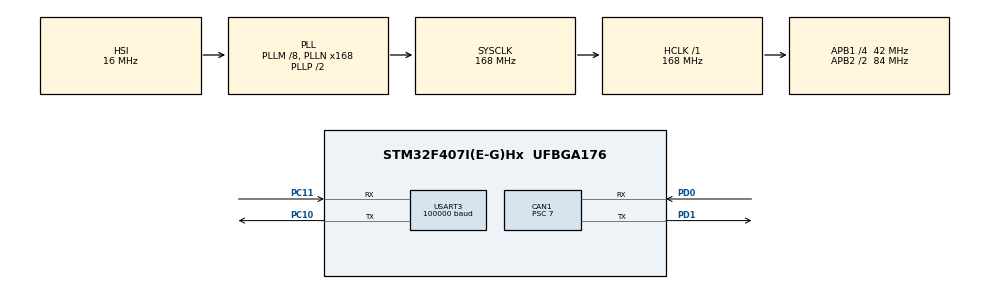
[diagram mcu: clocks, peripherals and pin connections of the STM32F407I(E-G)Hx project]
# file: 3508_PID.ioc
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CAN1.BS1=CAN_BS1_3TQ
CAN1.BS2=CAN_BS2_2TQ
CAN1.CalculateBaudRate=999999
CAN1.CalculateTimeBit=1000
CAN1.CalculateTimeQuantum=166.66666666666669
CAN1.NART=ENABLE
CAN1.Prescaler=7
Dma.Request0=USART3_RX
Dma.USART3_RX.0.Direction=DMA_PERIPH_TO_MEMORY
Dma.USART3_RX.0.FIFOMode=DMA_FIFOMODE_DISABLE
Dma.USART3_RX.0.Instance=DMA1_Stream1
Dma.USART3_RX.0.MemDataAlignment=DMA_MDATAALIGN_BYTE
Dma.USART3_RX.0.MemInc=DMA_MINC_ENABLE
Dma.USART3_RX.0.Mode=DMA_NORMAL
Dma.USART3_RX.0.PeriphDataAlignment=DMA_PDATAALIGN_BYTE
Dma.USART3_RX.0.PeriphInc=DMA_PINC_DISABLE
Dma.USART3_RX.0.Priority=DMA_PRIORITY_VERY_HIGH
Mcu.Family=STM32F4
Mcu.Name=STM32F407I(E-G)Hx
Mcu.Package=UFBGA176
NVIC.CAN1_RX0_IRQn=true\:5\:0\:true\:false\:true\:true\:true\:true
NVIC.DMA1_Stream1_IRQn=true\:0\:0\:false\:false\:true\:false\:true\:true
NVIC.PriorityGroup=NVIC_PRIORITYGROUP_4
NVIC.USART3_IRQn=true\:0\:0\:false\:false\:true\:true\:true\:true
PA13.Mode=Serial_Wire
PA13.Signal=SYS_JTMS-SWDIO
PA14.Mode=Serial_Wire
PA14.Signal=SYS_JTCK-SWCLK
PC10.Mode=Asynchronous
PC10.Signal=USART3_TX
PC11.Mode=Asynchronous
PC11.Signal=USART3_RX
PD0.Mode=CAN_Activate
PD0.Signal=CAN1_RX
PD1.Mode=CAN_Activate
PD1.Signal=CAN1_TX
ProjectManager.HeapSize=0x200
ProjectManager.StackSize=0x400
ProjectManager.TargetToolchain=CMake
RCC.48MHZClocksFreq_Value=84000000
RCC.AHBFreq_Value=168000000
RCC.APB1CLKDivider=RCC_HCLK_DIV4
RCC.APB1Freq_Value=42000000
RCC.APB1TimFreq_Value=84000000
RCC.APB2CLKDivider=RCC_HCLK_DIV2
RCC.APB2Freq_Value=84000000
RCC.APB2TimFreq_Value=168000000
RCC.CortexFreq_Value=168000000
RCC.HCLKFreq_Value=168000000
RCC.HSE_VALUE=25000000
RCC.HSI_VALUE=16000000
RCC.LSE_VALUE=32768
RCC.PLLM=8
RCC.PLLN=168
RCC.SYSCLKFreq_VALUE=168000000
RCC.SYSCLKSource=RCC_SYSCLKSOURCE_PLLCLK
RCC.VCOOutputFreq_Value=336000000
USART3.BaudRate=100000
USART3.Parity=PARITY_EVEN
USART3.VirtualMode=VM_ASYNC
USART3.WordLength=WORDLENGTH_9B
VP_TIM6_VS_ClockSourceINT.Mode=Enable_Timer
board=custom

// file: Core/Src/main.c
/* USER CODE BEGIN Header */
/**
  ******************************************************************************
  * @file           : main.c
  * @brief          : Main program body
  ******************************************************************************
  * @attention
  *
  * Copyright (c) 2026 STMicroelectronics.
  * All rights reserved.
  *
  * This software is licensed under terms that can be found in the LICENSE file
  * in the root directory of this software component.
  * If no LICENSE file comes with this software, it is provided AS-IS.
  *
  ******************************************************************************
  */
/* USER CODE END Header */
#include "main.h"
#include "can.h"
#include "dma.h"
#include "tim.h"
#include "usart.h"
#include "gpio.h"

/* USER CODE BEGIN Includes */
#include "chassis_kinematics.h"
#include <math.h>    /* sqrtf — 底盘级反向制动中计算速度矢量模 */
/* USER CODE END Includes */

/* USER CODE BEGIN PD */
/* 控制任务调度周期（ms） */
#define CONTROL_PERIOD_MS 10U

/*
 * 制动硬停阶段时长（控制任务迭代次数），宏定义见 debug.h。
 *
 * 时间换算：CONTROL_PERIOD_MS=10ms → BRAKE_HS_COUNT=300ms/10ms=30 次迭代。
 * 修改时长只需改 debug.h 中的 BRAKE_HS_COUNT，例如：
 *   150ms → 150/10 = 15    500ms → 500/10 = 50
 *
 * 每电机独立状态见下方 static 变量。
 */

/* USER CODE END PD */

/* USER CODE BEGIN PV */

/** @brief 进入制动区时的 debug_control_task_count 快照（底盘级，非逐电机）。
 *   用于反向制动阶段的计时：当前控制迭代次数与入口计数之差
 *   小于动态制动次数时，施加底盘级反向制动。 */
static uint32_t brake_entry_tick = 0U;

/** @brief 上一轮迭代是否处于制动区（底盘级，边沿检测用）。
 *   用于在进入制动区的上升沿记录制动起始时刻。 */
static uint8_t  brake_in_zone = 0U;

/** @brief 进入制动区时的底盘实际平移速度大小（m/s）。
 *   在制动上升沿由前向运动学反算，用于计算与速度成正比的制动时长。 */
static float    brake_entry_speed_ms = 0.0f;

/* USER CODE END PV */

void SystemClock_Config(void);
/* USER CODE BEGIN PFP */
static void CAN_Filter_Init(void);

/* USER CODE END PFP */

int main(void)
{

  /* MCU Configuration--------------------------------------------------------*/

  /* Reset of all peripherals, Initializes the Flash interface and the Systick. */
  HAL_Init();

  /* Configure the system clock */
  SystemClock_Config();

  /* Initialize all configured peripherals */
  MX_GPIO_Init();
  MX_DMA_Init();
  MX_CAN1_Init();
  MX_TIM6_Init();
  MX_USART3_UART_Init();
  /* USER CODE BEGIN 2 */
  DR16_Init();
  CAN_Filter_Init();

  if (HAL_CAN_Start(&hcan1) != HAL_OK)
  {
    Error_Handler();
  }

  if (HAL_CAN_ActivateNotification(&hcan1, CAN_IT_RX_FIFO0_MSG_PENDING) != HAL_OK)
  {
    Error_Handler();
  }

  Control_Init();

  /* USER CODE END 2 */

  /* Infinite loop */
  /* USER CODE BEGIN WHILE */
  uint32_t last_control_tick = HAL_GetTick();
  while (1)
  {
    /* USER CODE END WHILE */

    /* USER CODE BEGIN 3 */
    debug_main_loop_count++;

    /* 转圈触发：Ozone 设 debug_run_turns 非零→所有在线电机执行一次→自动清零。
     * Debug_QuickRunTurns 内部已按电机逐台检查 feedback_valid，无需外层检查。 */
    if (debug_run_turns != 0.0f)
    {
      float turns = debug_run_turns;
      debug_run_turns = 0.0f;
      Debug_QuickRunTurns(turns);
    }

    /* ====== 快捷调试模式调度 ====== */
    if (debug_quick_mode == DEBUG_QUICK_MODE_REMOTE)
    {
      /* ====== 遥控器模式（全向轮 X 型底盘运动学解算） ======
       *
       * 摇杆映射：
       *   左摇杆 ch2（左右）→ X 平移    右摇杆 ch0（左右）→ 旋转
       *   左摇杆 ch3（上下）→ Y 平移    右摇杆 ch1（上下）→ 预留
       *
       * 信号丢失保护：
       *   DR16_Init() 已将 RC_CtrlData 初始化为中位值（各通道=1024），
       *   因此上电后、未收到第一帧时，摇杆读数为中位 → 车速为零。
       *   同时检查 last_frame_tick：若从未收到帧或超时未更新 → 强制归零。
       *   超时阈值 debug_dr16_signal_timeout_ms（默认 500 ms）。 */
      {
        uint32_t now_tick = HAL_GetTick();
        uint8_t  signal_lost = 0U;
        uint8_t  i;

        /* 信号丢失判断：从未收到帧，或距最后一帧超过超时阈值 */
        if (debug_dr16_last_frame_tick == 0U ||
            (now_tick - debug_dr16_last_frame_tick) > debug_dr16_signal_timeout_ms)
        {
          signal_lost = 1U;
        }

        if (signal_lost)
        {
          /* 遥控器信号丢失 → 所有电机目标转速归零，确保安全 */
          for (i = 0; i < MOTOR_COUNT; i++)
          {
            MotorControl_SetControlMode(i, MOTOR_CONTROL_MODE_SPEED);
            MotorControl_SetTargetSpeed(i, 0.0f);
          }
        }
        else
        {
          float chassis_vx, chassis_vy, chassis_omega;
          float motor_speeds[4];

          /* 步骤 1：遥控器通道 → 底盘目标运动（m/s 和 rad/s）。
           * RemoteToChassis() 仅做纯摇杆→速度映射（含死区），不做硬件补偿。 */
          ChassisKinematics_RemoteToChassis(
              RC_CtrlData.rc.ch0, RC_CtrlData.rc.ch1,
              RC_CtrlData.rc.ch2, RC_CtrlData.rc.ch3,
              &chassis_vx, &chassis_vy, &chassis_omega);

          /* 步骤 2：硬件补偿（仅作用于遥控器解算出的速度矢量，制动等其他路径不受影响）。
           *
           * 补偿分两项，按先后顺序执行：
           *   2a. 速度矢量偏向角修正 — 将 (vx, vy) 旋转 debug_kinematics_bias_angle_deg 度。
           *       用于矫正因轮系安装不对称导致的方向偏移（如推正前车往左前偏）。
           *       正值=CCW 旋转，负值=CW 旋转，设 0 禁用。
           *   2b. CCW 偏航修正 — 根据平移速度大小，叠加与平移成正比的旋转角速度。
           *       用于矫正因机械不对称（四电机出力不均、重心偏移）导致的直行偏航。
           *       omega += gain × sqrt(vx² + vy²)，正值=CCW，设 0 禁用。
           *
           *       对角死区：当速度矢量方向接近纯对角线方向（45°、135°、225°、315°），
           *       即与一三象限或二四象限角平分线的夹角 < debug_kinematics_ccw_dead_angle_deg
           *       （默认 15°）时，跳过 CCW 修正，避免对角线推杆时过旋转。
           *
           * 两项补偿独立可调，Ozone 中修改后立即生效。 */
          if (debug_kinematics_bias_angle_deg != 0.0f)
          {
            float bias_rad = debug_kinematics_bias_angle_deg * (3.14159265f / 180.0f);
            float cos_b = cosf(bias_rad);
            float sin_b = sinf(bias_rad);
            float vx_rot = chassis_vx * cos_b - chassis_vy * sin_b;
            float vy_rot = chassis_vx * sin_b + chassis_vy * cos_b;
            chassis_vx = vx_rot;
            chassis_vy = vy_rot;
          }

          if (debug_kinematics_ccw_correction_gain != 0.0f)
          {
            float speed_mag = sqrtf(chassis_vx * chassis_vx + chassis_vy * chassis_vy);
            uint8_t apply_ccw = 1U;

            /* 对角死区：速度矢量接近 45° 对角线方向时跳过 CCW 修正 */
            if (debug_kinematics_ccw_dead_angle_deg > 0.0f && speed_mag > 0.005f)
            {
              float angle = atan2f(chassis_vy, chassis_vx);
              if (angle < 0.0f) angle += 2.0f * 3.14159265f;
              /* 将所有方向映射到 [0, π/2)，对角线位于 π/4 (45°) */
              float mod = angle;
              while (mod >= 3.14159265f / 2.0f) mod -= 3.14159265f / 2.0f;
              float dist = (mod > 3.14159265f / 4.0f)
                  ? (mod - 3.14159265f / 4.0f)
                  : (3.14159265f / 4.0f - mod);
              if (dist < debug_kinematics_ccw_dead_angle_deg * (3.14159265f / 180.0f))
              {
                apply_ccw = 0U;
              }
            }

            if (apply_ccw)
            {
              chassis_omega += debug_kinematics_ccw_correction_gain * speed_mag;
            }
          }

          /* 步骤 3：底盘目标运动（已补偿）→ 4 电机目标转速（rad/s，电机轴侧） */
          ChassisKinematics_ChassisToMotors(
              chassis_vx, chassis_vy, chassis_omega, motor_speeds);

          /* 步骤 4：写入各电机目标，同步 debug_set_speed 供 Ozone 观察。
           *
           * 制动策略（底盘级两段式，无位置环）：
           *   摇杆中位 → 所有电机解算转速低于 debug_brake_threshold_rad_s → 进入制动区。
           *
           *   段 0 — 底盘级反向制动（动态时长，与入口速度成正比）：
           *          上升沿：前向运动学反算底盘实际 (vx, vy) → 记录入口速度大小
           *          brake_entry_speed_ms，制动次数 = 入口速度 × debug_brake_duration_per_ms
           *          （默认 25 次每 m/s，1 m/s → 250ms，2 m/s → 500ms），
           *          上限由 debug_brake_max_duration 截断（默认 80 次 = 800ms）。
           *
           *          每迭代：前向运动学从实际电机转速反算底盘 (vx, vy, omega) →
           *          施加与运动方向相反的小速度（线速度+角速度）→
           *          逆运动学分解为一致的四电机目标转速。
           *
           *          线速度强度：debug_brake_reverse_speed_ms（默认 0.1 m/s）
           *          角速度强度：debug_brake_reverse_omega_rad_s（默认 0.5 rad/s）
           *          — 若两者均为 0，跳过此阶段直接进入段 1。
           *          — 若 debug_brake_duration_per_ms == 0，跳过此阶段直接进入段 1。
           *
           *   段 1 — 强制零电流：反向制动时间到（或已禁用）后，强制 iq=0，
           *          电机纯靠地面摩擦力滑行至自然停止。只要摇杆保持中位，
           *          电机驱动电流恒为零。
           *          （速度环 + 目标=0 → control.c hard stop 无条件零电流）
           *
           *   离开制动区（摇杆再次推动）→ 正常速度环驱动。 */
                    for (i = 0; i < MOTOR_COUNT; i++)
          {
            float abs_spd = motor_speeds[i];
            if (abs_spd < 0.0f) abs_spd = -abs_spd;

            if (abs_spd < debug_brake_threshold_rad_s)
            {
              /* ====== 制动区：摇杆中位 ====== */

              /* 边沿检测：刚进入制动区 → 记录时间戳 + 入口速度 */
              if (!brake_in_zone)
              {
                brake_entry_tick = debug_control_task_count;
                /* 前向运动学反算底盘实际平移速度，作为制动时长的比例基准 */
                {
                  float entry_vx, entry_vy, entry_omega;
                  ChassisKinematics_MotorsToChassis(
                      debug_actual_speed_rad_s,
                      &entry_vx, &entry_vy, &entry_omega);
                  brake_entry_speed_ms = sqrtf(entry_vx * entry_vx + entry_vy * entry_vy);
                }
                brake_in_zone = 1U;
              }

              /* 动态制动次数：与入口速度成正比 + 最大上限截断 */
              {
                uint32_t brake_dur = (uint32_t)(brake_entry_speed_ms * debug_brake_duration_per_ms);
                if (debug_brake_max_duration > 0.0f &&
                    brake_dur > (uint32_t)debug_brake_max_duration)
                {
                  brake_dur = (uint32_t)debug_brake_max_duration;
                }

                if ((debug_brake_reverse_speed_ms > 0.0f ||
                      debug_brake_reverse_omega_rad_s > 0.0f) &&
                    brake_dur > 0U &&
                    (debug_control_task_count - brake_entry_tick) < brake_dur)
              {
                /* 段 0 — 底盘级反向制动：
                 *
                 * 1. 前向运动学：从实际电机转速反算底盘 (vx, vy, omega)
                 * 2. 施加与运动方向相反的小线速度 + 角速度
                 * 3. 逆运动学分解为四电机一致的目标转速
                 *
                 * 关键：底盘级制动保证四电机协同运动，避免逐电机制动时
                 * 各电机反向速度不一致导致的底盘解体运动。 */

                /* 1. 前向运动学 */
                float actual_vx, actual_vy, actual_omega;
                ChassisKinematics_MotorsToChassis(
                    debug_actual_speed_rad_s,
                    &actual_vx, &actual_vy, &actual_omega);

                /* 2. 计算反向制动底盘速度 */
                float brake_vx = 0.0f, brake_vy = 0.0f, brake_omega = 0.0f;

                /* 线速度反向：归一化方向 × 制动强度 */
                if (debug_brake_reverse_speed_ms > 0.0f)
                {
                  float v_mag = sqrtf(actual_vx * actual_vx + actual_vy * actual_vy);
                  if (v_mag > 0.005f)  /* 0.5 cm/s 以上才触发，避免静止时数值噪声 */
                  {
                    float inv_mag = 1.0f / v_mag;
                    brake_vx = -(actual_vx * inv_mag) * debug_brake_reverse_speed_ms;
                    brake_vy = -(actual_vy * inv_mag) * debug_brake_reverse_speed_ms;
                  }
                }

                /* 角速度反向：方向与当前旋转相反 */
                if (debug_brake_reverse_omega_rad_s > 0.0f)
                {
                  float abs_omega = (actual_omega < 0.0f) ? -actual_omega : actual_omega;
                  if (abs_omega > 0.01f)  /* 0.01 rad/s 死区 */
                  {
                    brake_omega = (actual_omega > 0.0f)
                        ? -debug_brake_reverse_omega_rad_s
                        :  debug_brake_reverse_omega_rad_s;
                  }
                }

                /* 3. 逆运动学：底盘速度 → 四电机目标转速 */
                float brake_motor_speeds[4];
                ChassisKinematics_ChassisToMotors(
                    brake_vx, brake_vy, brake_omega, brake_motor_speeds);

                for (i = 0; i < MOTOR_COUNT; i++)
                {
                  debug_set_speed[i] = brake_motor_speeds[i];
                  MotorControl_SetControlMode(i, MOTOR_CONTROL_MODE_SPEED);
                  MotorControl_SetTargetSpeed(i, brake_motor_speeds[i]);
                }
                break;  /* 已在循环内设置了全部 4 电机，跳出外层 for */
              }
              else
              {
                /* 段 1 — 强制零电流：反向制动时间到（或已禁用），
                 * 速度环 + 目标=0 → control.c hard stop 无条件 iq=0。
                 * 此后只要摇杆保持中位，电机驱动电流恒为零。 */
                for (i = 0; i < MOTOR_COUNT; i++)
                {
                  debug_set_speed[i] = 0.0f;
                  MotorControl_SetControlMode(i, MOTOR_CONTROL_MODE_SPEED);
                  MotorControl_SetTargetSpeed(i, 0.0f);
                }
                break;  /* 已在循环内设置了全部 4 电机，跳出外层 for */
              }
              }  /* 关闭 brake_dur 作用域 */
            }
            else
            {
              /* 正常驱动区：速度环。同时清除制动区标记，下次进入时重新计时。 */
              brake_in_zone = 0U;
              debug_set_speed[i] = motor_speeds[i];
              MotorControl_SetControlMode(i, MOTOR_CONTROL_MODE_SPEED);
              MotorControl_SetTargetSpeed(i, motor_speeds[i]);
            }
          }
        }
      }
    }
    else if (debug_quick_mode == DEBUG_QUICK_MODE_SPEED)
    {
      /* 速度环模式：每个电机独立读取 debug_set_speed[i]。 */
      uint8_t i;
      for (i = 0; i < MOTOR_COUNT; i++)
      {
        MotorControl_SetControlMode(i, MOTOR_CONTROL_MODE_SPEED);
        MotorControl_SetTargetSpeed(i, debug_set_speed[i]);
      }
    }
    else
    {
      /* 位置环模式（默认回退）：每个电机独立读取 debug_set_position[i]。 */
      uint8_t i;
      for (i = 0; i < MOTOR_COUNT; i++)
      {
        MotorControl_SetControlMode(i, MOTOR_CONTROL_MODE_POSITION);
        MotorControl_SetTargetAngle(i, debug_set_position[i]);
      }
    }

    uint32_t now = HAL_GetTick();
    if ((now - last_control_tick) >= CONTROL_PERIOD_MS)
    {
      float dt_s = (float)(now - last_control_tick) * 0.001f;
      last_control_tick = now;
      Control_Task(dt_s);
    }
  }
  /* USER CODE END 3 */
}

void SystemClock_Config(void)
{
  RCC_OscInitTypeDef RCC_OscInitStruct = {0};
  RCC_ClkInitTypeDef RCC_ClkInitStruct = {0};

  /** Configure the main internal regulator output voltage
  */
  __HAL_RCC_PWR_CLK_ENABLE();
  __HAL_PWR_VOLTAGESCALING_CONFIG(PWR_REGULATOR_VOLTAGE_SCALE1);

  /** Initializes the RCC Oscillators according to the specified parameters
  * in the RCC_OscInitTypeDef structure.
  */
  RCC_OscInitStruct.OscillatorType = RCC_OSCILLATORTYPE_HSI;
  RCC_OscInitStruct.HSIState = RCC_HSI_ON;
  RCC_OscInitStruct.HSICalibrationValue = RCC_HSICALIBRATION_DEFAULT;
  RCC_OscInitStruct.PLL.PLLState = RCC_PLL_ON;
  RCC_OscInitStruct.PLL.PLLSource = RCC_PLLSOURCE_HSI;
  RCC_OscInitStruct.PLL.PLLM = 8;
  RCC_OscInitStruct.PLL.PLLN = 168;
  RCC_OscInitStruct.PLL.PLLP = RCC_PLLP_DIV2;
  RCC_OscInitStruct.PLL.PLLQ = 4;
  if (HAL_RCC_OscConfig(&RCC_OscInitStruct) != HAL_OK)
  {
    Error_Handler();
  }

  /** Initializes the CPU, AHB and APB buses clocks
  */
  RCC_ClkInitStruct.ClockType = RCC_CLOCKTYPE_HCLK|RCC_CLOCKTYPE_SYSCLK
                              |RCC_CLOCKTYPE_PCLK1|RCC_CLOCKTYPE_PCLK2;
  RCC_ClkInitStruct.SYSCLKSource = RCC_SYSCLKSOURCE_PLLCLK;
  RCC_ClkInitStruct.AHBCLKDivider = RCC_SYSCLK_DIV1;
  RCC_ClkInitStruct.APB1CLKDivider = RCC_HCLK_DIV4;
  RCC_ClkInitStruct.APB2CLKDivider = RCC_HCLK_DIV2;

  if (HAL_RCC_ClockConfig(&RCC_ClkInitStruct, FLASH_LATENCY_5) != HAL_OK)
  {
    Error_Handler();
  }
}

/* USER CODE BEGIN 4 */
static void CAN_Filter_Init(void)
{
  CAN_FilterTypeDef can_filter = {0};

  can_filter.FilterBank = 0;
  can_filter.FilterMode = CAN_FILTERMODE_IDMASK;
  can_filter.FilterScale = CAN_FILTERSCALE_32BIT;
  can_filter.FilterIdHigh = 0x0000;
  can_filter.FilterIdLow = 0x0000;
  can_filter.FilterMaskIdHigh = 0x0000;
  can_filter.FilterMaskIdLow = 0x0000;
  can_filter.FilterFIFOAssignment = CAN_FILTER_FIFO0;
  can_filter.FilterActivation = ENABLE;
  can_filter.SlaveStartFilterBank = 14;

  if (HAL_CAN_ConfigFilter(&hcan1, &can_filter) != HAL_OK)
  {
    Error_Handler();
  }
}

void HAL_CAN_RxFifo0MsgPendingCallback(CAN_HandleTypeDef *hcan)
{
  CAN_RxHeaderTypeDef rx_header;
  uint8_t rx_data[8];

  if (hcan->Instance != CAN1)
  {
    return;
  }

  if (HAL_CAN_GetRxMessage(hcan, CAN_RX_FIFO0, &rx_header, rx_data) != HAL_OK)
  {
    return;
  }

  debug_can_rx_raw_count++;
  debug_last_rx_stdid = rx_header.StdId;

  Control_OnCanRxMessage(&rx_header, rx_data);
}

/* USER CODE END 4 */

void Error_Handler(void)
{
  __disable_irq();
  while (1)
  {
  }
}
